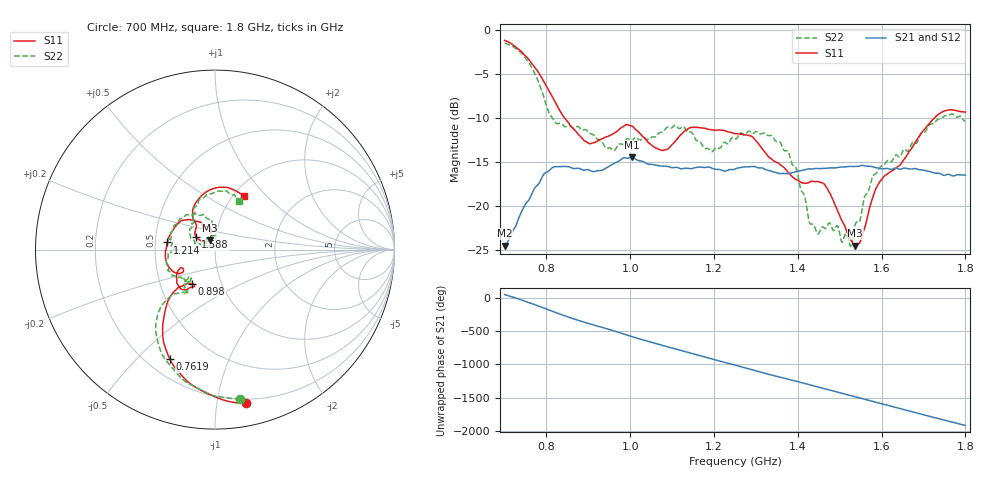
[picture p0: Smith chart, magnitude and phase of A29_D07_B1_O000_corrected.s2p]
! Created with skrf 1.9.0 (http://scikit-rf.org).
# Hz S RI R 50.0
!freq ReS11 ImS11 ReS21 ImS21 ReS12 ImS12 ReS22 ImS22
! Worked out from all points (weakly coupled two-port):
!   1601 points, 700 MHz to 1.8 GHz, reference 50 ohm
!   highest |S21| = -14.47 dB at 1.003 GHz (marker M1); lowest = -24.5 dB at 700 MHz (marker M2)
!   lowest |S11| = -24.5 dB at 1.537 GHz (marker M3), VSWR 1.13, Z = 47 + j4.93 ohm
!   |S11| at or under -10 dB: 843.1 MHz to 1.726 GHz (882.7 MHz wide, 68.7 % of centre)
!   |S22| runs from -24.6 to -1.5 dB; largest |S21 - S12| = 0.0035
!   S11 on the Smith chart (normalised r, x): 700 MHz: 0.17, -1.21; 761.9 MHz: 0.29, -0.63; 898 MHz: 0.72, -0.29; 1.214 GHz: 0.58, +0.05; 1.588 GHz: 0.80, +0.11; 1.8 GHz: 1.11, +0.76
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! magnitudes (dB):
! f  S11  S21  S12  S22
! 700 MHz  -1.2  -24.5  -24.3  -1.5
! 761.9 MHz  -3.6  -19.0  -18.9  -4.0
! 818.9 MHz  -8.0  -15.5  -15.7  -10.4
! 883.6 MHz  -12.2  -15.9  -15.8  -11.3
! 898 MHz  -12.8  -15.9  -15.9  -11.5
! 959.2 MHz  -11.8  -15.2  -15.2  -13.7
! 1.003 GHz  -10.9  -14.5  -14.6  -12.6
! 1.067 GHz  -13.5  -15.4  -15.4  -11.8
! 1.126 GHz  -11.6  -15.8  -15.8  -11.0
! 1.214 GHz  -11.4  -15.9  -15.9  -13.4
! 1.25 GHz  -11.8  -15.8  -15.7  -12.3
! 1.357 GHz  -15.3  -16.3  -16.3  -12.7
! 1.396 GHz  -17.0  -16.1  -16.1  -15.7
! 1.434 GHz  -17.2  -15.8  -15.8  -22.1
! 1.468 GHz  -17.9  -15.7  -15.7  -22.5
! 1.525 GHz  -23.8  -15.5  -15.5  -24.6
! 1.537 GHz  -24.5  -15.5  -15.5  -22.2
! 1.551 GHz  -23.8  -15.4  -15.4  -21.0
! 1.588 GHz  -17.9  -15.7  -15.7  -16.2
! 1.617 GHz  -16.2  -15.8  -15.7  -14.9
! 1.734 GHz  -9.6  -16.3  -16.3  -10.2
! 1.8 GHz  -9.3  -16.5  -16.5  -10.3
